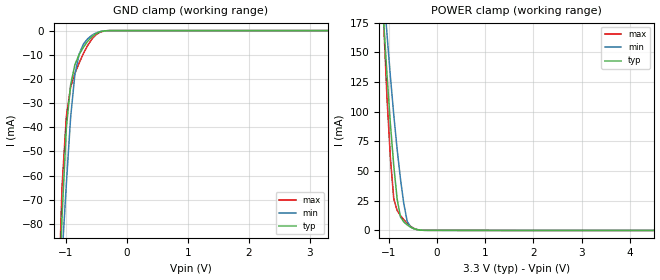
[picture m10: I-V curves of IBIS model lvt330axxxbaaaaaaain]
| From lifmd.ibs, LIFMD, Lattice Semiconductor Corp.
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|   Model lvt330axxxbaaaaaaain
[Model] lvt330axxxbaaaaaaain
Model_type Input
Polarity   Non-Inverting
Vinl =  0.800V
Vinh =  2.000V
C_comp   5.000pF   4.000pF   5.500pF
[Temperature Range]   25.000   0.125k   -40.000
[Voltage Range]   3.300V   3.140V   3.470V
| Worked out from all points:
|   GND clamp passes 1 mA (typ) near -0.48 V on its own axis
|   POWER clamp passes 1 mA (typ) near -0.45 V on its own axis
[GND_clamp]
|Voltage   I(typ)   I(min)   I(max)
-3.3V     -1.71A     -1.258A    -2.349A
-1.13V    -119.4mA   -124.7mA   -120.3mA
-1.06V    -76.88mA   -93.37mA   -64.39mA
-990mV    -40.35mA   -63.65mA   -35.62mA
-920mV    -22.6mA    -36.07mA   -23.38mA
-850mV    -14.14mA   -18.14mA   -17.79mA
-780mV    -9.909mA   -9.739mA   -13.41mA
-710mV    -6.894mA   -5.603mA   -9.501mA
-640mV    -4.428mA   -3.381mA   -6.138mA
-500mV    -1.198mA   -946.9uA   -1.648mA
-290mV    -17.2uA    -20.27uA   -19.28uA
3.3V      0A         0A         0A
[POWER_clamp]
|Voltage   I(typ)   I(min)   I(max)
-3.3V     2.101A     1.758A     3.757A
-1.11V    175.9mA    202.3mA    175mA
-1.04V    130.6mA    164.8mA    110.8mA
-970mV    89.47mA    129.5mA    60.8mA
-900mV    54.32mA    97.15mA    26.56mA
-830mV    26.33mA    68.22mA    16.68mA
-760mV    11.13mA    42.96mA    12.46mA
-690mV    7.047mA    22mA       8.842mA
-620mV    4.569mA    7.445mA    5.774mA
-480mV    1.311mA    1.375mA    1.631mA
-200mV    15.9uA     19.21uA    18.62uA
6.6V      -81.43uA   -54.99uA   -111.7uA
